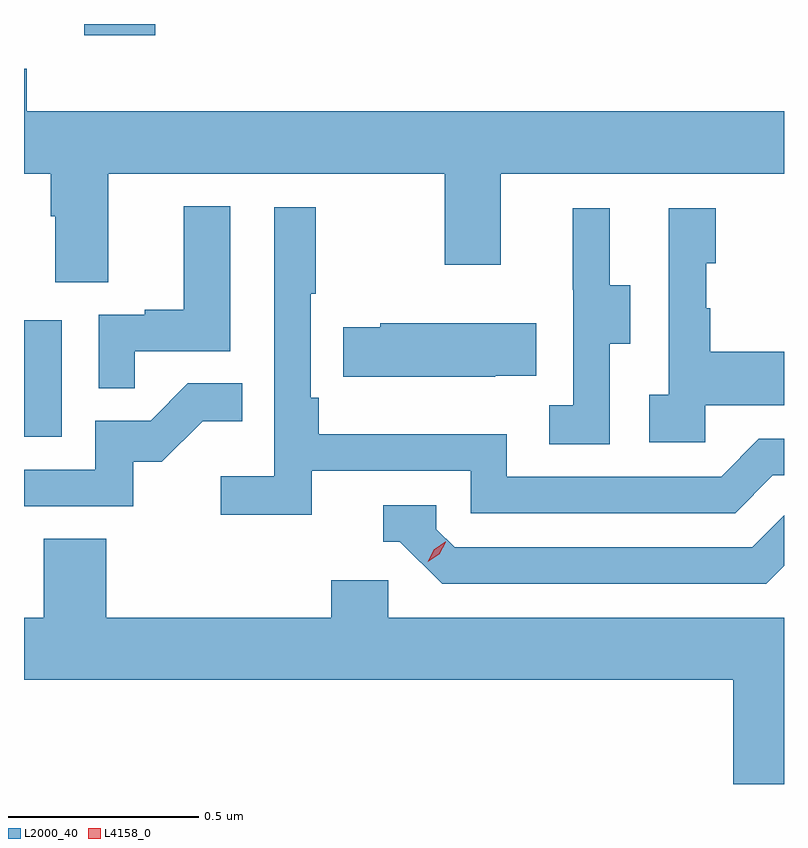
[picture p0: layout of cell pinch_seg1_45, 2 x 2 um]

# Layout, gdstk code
import gdstk
lib = gdstk.Library(unit=1e-6, precision=1e-09)
def R(c, l, rs):  # rectangles x0, y0, x1, y1
    for r in rs: c.add(gdstk.rectangle(r[:2], r[2:], *l))
def P(c, l, *ps):  # polygons
    for p in ps: c.add(gdstk.Polygon(p, *l))
L2000_40 = (2000, 40)
L4158_0 = (4158, 0)

pinch_seg1_45 = lib.new_cell('pinch_seg1_45')
R(pinch_seg1_45, L2000_40, [(1084.909,571.02,1085.008,571.327), (1085.067,572.076,1085.255,572.106)])
P(pinch_seg1_45, L2000_40, [(1085.131,571.712),(1086.016,571.712),(1086.016,571.473),(1086.163,571.473),(1086.163,571.712),(1086.909,571.712),(1086.909,571.876),(1084.916,571.876),(1084.916,571.988),(1084.909,571.988),(1084.909,571.712),(1084.979,571.712),(1084.979,571.6),(1084.991,571.6),(1084.991,571.426),(1085.131,571.426)],
  [(1085.201,571.245),(1085.452,571.245),(1085.452,571.627),(1085.33,571.627),(1085.33,571.354),(1085.227,571.354),(1085.227,571.341),(1085.106,571.341),(1085.106,571.147),(1085.201,571.147)],
  [(1085.666,570.93),(1086.084,570.93),(1086.084,570.819),(1086.781,570.819),(1086.88,570.918),(1086.909,570.918),(1086.909,571.014),(1086.843,571.014),(1086.744,570.915),(1086.18,570.915),(1086.18,571.027),(1085.684,571.027),(1085.684,571.123),(1085.664,571.123),(1085.664,571.396),(1085.677,571.396),(1085.677,571.624),(1085.568,571.624),(1085.568,570.916),(1085.427,570.916),(1085.427,570.814),(1085.666,570.814)],
  [(1086.702,571.103),(1086.909,571.103),(1086.909,571.243),(1086.715,571.243),(1086.715,571.358),(1086.705,571.358),(1086.705,571.476),(1086.73,571.476),(1086.73,571.621),(1086.606,571.621),(1086.606,571.13),(1086.555,571.13),(1086.555,571.005),(1086.702,571.005)],
  [(1086.45,571.264),(1086.505,571.264),(1086.505,571.419),(1086.451,571.419),(1086.451,571.621),(1086.353,571.621),(1086.353,571.407),(1086.354,571.407),(1086.354,571.103),(1086.291,571.103),(1086.291,571),(1086.45,571)],
  [(1086.149,571.181),(1086.257,571.181),(1086.257,571.318),(1085.847,571.318),(1085.847,571.308),(1085.749,571.308),(1085.749,571.178),(1086.149,571.178)],
  [(1085.196,570.954),(1085.272,570.954),(1085.379,571.061),(1085.483,571.061),(1085.483,571.16),(1085.34,571.16),(1085.242,571.062),(1085.097,571.062),(1085.097,570.933),(1084.909,570.933),(1084.909,570.837),(1085.196,570.837)],
  [(1086.909,570.68),(1086.909,570.813),(1086.825,570.729),(1086.042,570.729),(1085.994,570.777),(1085.994,570.84),(1085.855,570.84),(1085.855,570.744),(1085.898,570.744),(1086.009,570.633),(1086.862,570.633)],
  [(1086.909,570.544),(1085.868,570.544),(1085.868,570.642),(1085.717,570.642),(1085.717,570.544),(1085.126,570.544),(1085.126,570.752),(1084.961,570.752),(1084.961,570.544),(1084.909,570.544),(1084.909,570.38),(1086.776,570.38),(1086.776,570.106),(1086.909,570.106)])
P(pinch_seg1_45, L4158_0, [(1085.971,570.691),(1085.971,570.691),(1085.987,570.723),(1086.018,570.743),(1086.019,570.743),(1086.019,570.742),(1086.002,570.71),(1085.971,570.691)])

lib.write_gds('pinch_seg1_45.gds')
